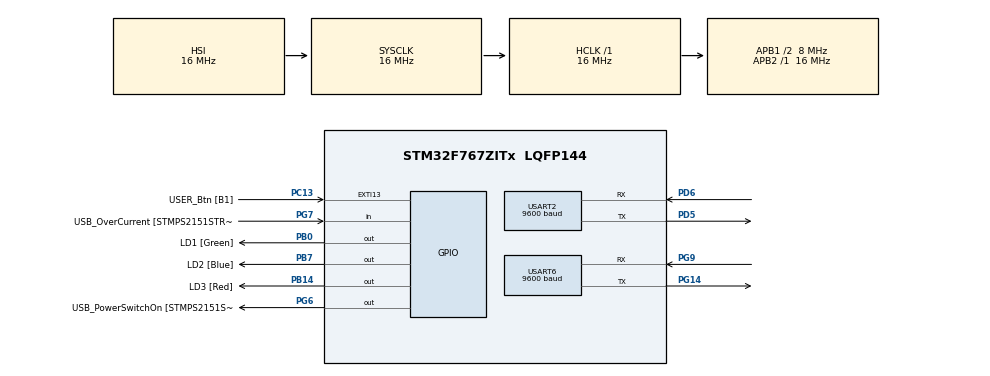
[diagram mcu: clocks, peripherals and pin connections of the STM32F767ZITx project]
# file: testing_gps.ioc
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Mcu.Family=STM32F7
Mcu.Name=STM32F767ZITx
Mcu.Package=LQFP144
NVIC.PriorityGroup=NVIC_PRIORITYGROUP_4
NVIC.USART2_IRQn=true\:0\:0\:false\:false\:true\:true\:true\:true
PA1.GPIO_Label=RMII_REF_CLK [LAN8742A-CZ-TR_REFCLK0]
PA1.Signal=ETH_REF_CLK
PA10.GPIO_Label=USB_ID
PA10.Signal=USB_OTG_FS_ID
PA11.GPIO_Label=USB_DM
PA11.Signal=USB_OTG_FS_DM
PA12.GPIO_Label=USB_DP
PA12.Signal=USB_OTG_FS_DP
PA13.GPIO_Label=TMS
PA13.Signal=SYS_JTMS-SWDIO
PA14.GPIO_Label=TCK
PA14.Signal=SYS_JTCK-SWCLK
PA2.GPIO_Label=RMII_MDIO [LAN8742A-CZ-TR_MDIO]
PA2.Signal=ETH_MDIO
PA7.GPIO_Label=RMII_CRS_DV [LAN8742A-CZ-TR_CRS_DV]
PA7.Signal=ETH_CRS_DV
PA8.GPIO_Label=USB_SOF [TP1]
PA8.Signal=USB_OTG_FS_SOF
PA9.GPIO_Label=USB_VBUS
PA9.Signal=USB_OTG_FS_VBUS
PB0.GPIO_Label=LD1 [Green]
PB0.Signal=GPIO_Output
PB13.GPIO_Label=RMII_TXD1 [LAN8742A-CZ-TR_TXD1]
PB13.Signal=ETH_TXD1
PB14.GPIO_Label=LD3 [Red]
PB14.Signal=GPIO_Output
PB3.GPIO_Label=SW0
PB3.Signal=SYS_JTDO-SWO
PB7.GPIO_Label=LD2 [Blue]
PB7.Signal=GPIO_Output
PC1.GPIO_Label=RMII_MDC [LAN8742A-CZ-TR_MDC]
PC1.Signal=ETH_MDC
PC13.GPIO_Label=USER_Btn [B1]
PC13.Signal=GPXTI13
PC14/OSC32_IN.Signal=RCC_OSC32_IN
PC15/OSC32_OUT.Signal=RCC_OSC32_OUT
PC4.GPIO_Label=RMII_RXD0 [LAN8742A-CZ-TR_RXD0]
PC4.Signal=ETH_RXD0
PC5.GPIO_Label=RMII_RXD1 [LAN8742A-CZ-TR_RXD1]
PC5.Signal=ETH_RXD1
PD5.Mode=Asynchronous
PD5.Signal=USART2_TX
PD6.Mode=Asynchronous
PD6.Signal=USART2_RX
PD8.GPIO_Label=STLK_RX [STM32F103CBT6_PA3]
PD8.Signal=USART3_TX
PD9.GPIO_Label=STLK_TX [STM32F103CBT6_PA2]
PD9.Signal=USART3_RX
PG11.GPIO_Label=RMII_TX_EN [LAN8742A-CZ-TR_TXEN]
PG11.Signal=ETH_TX_EN
PG13.GPIO_Label=RMII_TXD0 [LAN8742A-CZ-TR_TXD0]
PG13.Signal=ETH_TXD0
PG14.Mode=Asynchronous
PG14.Signal=USART6_TX
PG6.GPIO_Label=USB_PowerSwitchOn [STMPS2151STR_EN]
PG6.Signal=GPIO_Output
PG7.GPIO_Label=USB_OverCurrent [STMPS2151STR_FAULT]
PG7.Signal=GPIO_Input
PG9.Mode=Asynchronous
PG9.Signal=USART6_RX
PH0/OSC_IN.GPIO_Label=MCO [STM32F103CBT6_PA8]
PH0/OSC_IN.Signal=RCC_OSC_IN
PH1/OSC_OUT.Signal=RCC_OSC_OUT
ProjectManager.HeapSize=0x200
ProjectManager.StackSize=0x400
ProjectManager.TargetToolchain=STM32CubeIDE
RCC.48MHZClocksFreq_Value=24000000
RCC.AHBFreq_Value=16000000
RCC.APB1CLKDivider=RCC_HCLK_DIV2
RCC.APB1Freq_Value=8000000
RCC.APB1TimFreq_Value=16000000
RCC.APB2Freq_Value=16000000
RCC.APB2TimFreq_Value=16000000
RCC.CortexFreq_Value=16000000
RCC.HCLKFreq_Value=16000000
RCC.HSE_VALUE=16000000
RCC.HSI_VALUE=16000000
RCC.LSE_VALUE=32768
RCC.PLLMUL=RCC_PLL_MUL9
RCC.PRESCALERUSB=RCC_USBCLKSOURCE_PLL_DIV1_5
RCC.SYSCLKFreq_VALUE=16000000
RCC.SYSCLKSourceVirtual=RCC_SYSCLKSOURCE_PLLCLK
RCC.USBFreq_Value=96000000
RCC.VCOOutputFreq_Value=192000000
USART2.BaudRate=9600
USART2.VirtualMode-Asynchronous=VM_ASYNC
USART6.BaudRate=9600
USART6.VirtualMode-Asynchronous=VM_ASYNC
board=NUCLEO-F767ZI

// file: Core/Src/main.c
/* USER CODE BEGIN Header */
/**
  ******************************************************************************
  * @file           : main.c
  * @brief          : Main program body
  ******************************************************************************
  * @attention
  *
  * Copyright (c) 2023 STMicroelectronics.
  * All rights reserved.
  *
  * This software is licensed under terms that can be found in the LICENSE file
  * in the root directory of this software component.
  * If no LICENSE file comes with this software, it is provided AS-IS.
  *
  ******************************************************************************
  */
/* USER CODE END Header */
#include "main.h"

/* USER CODE BEGIN Includes */
#include <stdio.h>
#include <stdlib.h>

/* USER CODE END Includes */

UART_HandleTypeDef huart2;
UART_HandleTypeDef huart6;

/* USER CODE BEGIN PV */

//35.15
typedef struct __attribute__((__packed__)) {
    uint32_t iTOW;
    int32_t velN;
    int32_t velE;
    int32_t velD;
    uint32_t speed;
    uint32_t gSpeed;
    int32_t heading;
    uint32_t sAcc;
    uint32_t cAcc;
    uint8_t CK_A;
    uint8_t CK_B;
} GPS_VELOCITY_PACKET;

//35.13
typedef struct __attribute__((__packed__)) {
    uint32_t iTOW;
    uint32_t tAcc;
    int32_t nano;
    uint16_t year;
    uint8_t month;
    uint8_t day;
    uint8_t hour;
    uint8_t min;
    uint8_t sec;
    uint8_t valid;
    uint8_t CK_A;
    uint8_t CK_B;
} GPS_TIME_PACKET;

//35.7
typedef struct __attribute__((__packed__)) {
    uint32_t iTOW;
    int32_t lon;
    int32_t lat;
    int32_t height;
    int32_t hMSL;
    uint32_t hAcc;
    uint32_t vAcc;
    uint8_t CK_A;
    uint8_t CK_B;
} GEO_POS_SOL_PACKET;

//35.10
typedef struct __attribute__((__packed__)) {
    uint32_t iTOW;
    uint8_t gpsFix;
    //below three bit values
    uint8_t flags;
    uint8_t fixStat;
    uint8_t flags2;
    uint32_t ttff;
    uint32_t msss;
    uint8_t CK_A;
    uint8_t CK_B;
} NAV_STATUS_PACKET;

typedef enum{
	GOTBYTE,
	GOTSIZE,
	GOTPAYLOAD
} serial_read_state;

typedef struct __attribute__((__packed__)) {
	uint8_t cls;
	uint8_t id;
	uint16_t len;
} BEGIN_PACKET;

GPS_VELOCITY_PACKET gps_velocity_packet;
GPS_TIME_PACKET gps_time_packet;
GEO_POS_SOL_PACKET geo_pos_sol_packet;
NAV_STATUS_PACKET nav_status_packet;
BEGIN_PACKET begin_packet;

// Below two lines shouldn't? be included in the class
uint16_t gps_speed;
uint16_t gps_lock;

// This should be included
serial_read_state gps_state = GOTBYTE;
uint16_t gps_code = 0;
uint8_t gps_code_byte = 0;
uint16_t counter_thing = 0;

//Added by Jacob
uint16_t gps_time = 0;//Need one for 35.7 and 35.10
unsigned char gps_fix = 0;
int32_t gps_sea_level = 0;
uint32_t msss = 0;// For testing stat
// More debugging info
uint16_t selection_wrong_debug = 0;

// 0 = debugs match
// 1 = no match

typedef struct __attribute__((__packed__)) {
  // beginpacket.id doesn't match any that are givens
  unsigned int bit1:1;
  // UNUSED
  unsigned int bit2:1;
  // UNUSED
  unsigned int bit3:1;
  // UNUSED
  unsigned int bit4:1;
  // Status
  unsigned int bit5:1;
  // Position
  unsigned int bit6:1;
  // Time
  unsigned int bit7:1;
  // Velocity
  unsigned int bit8:1;
} PACKED_BITS;

PACKED_BITS chk_debug;

typedef struct __attribute__((__packed__)) {
    uint16_t p_vel;
    uint16_t p_time;
    uint16_t p_pos;
    uint16_t p_stat;
    uint16_t f_vel;
	uint16_t f_time;
	uint16_t f_pos;
	uint16_t f_stat;
} PACKET_DEBUG;

PACKET_DEBUG packet_debug;

#define ARRAY_SIZE 11

const uint8_t num_commands = ARRAY_SIZE;

/**
 * Notes from David regarding below
 *
 * First 6 of these commands seem to be 31.9 CFG-MSG
 * 		They seem to be turning off all the default messages
 * Remaning commands have inline comments
 *
 *
 * Notes about update frequency:
 * I find it weird that the higher the frequency, the more evenly the values update
 * I would have expected an inverse relationship
 * Starting at 10hz, I moved to 20hz, and then 40 hz
 * At 10 hz, I would rarely recieve time data
 * at 20hz I would inconsistantly get time data
 * at 40hz I consistantly get all the data I need
 *
 */
const uint8_t gps_config_commands[ARRAY_SIZE][16] = {
        { 0xB5, 0x62, 0x06, 0x01, 0x08, 0x00, 0xF0, 0x00, 0x00, 0x00, 0x00, 0x00, 0x00, 0x01, 0x00, 0x24 },
        { 0xB5, 0x62, 0x06, 0x01, 0x08, 0x00, 0xF0, 0x01, 0x00, 0x00, 0x00, 0x00, 0x00, 0x01, 0x01, 0x2B },
        { 0xB5, 0x62, 0x06, 0x01, 0x08, 0x00, 0xF0, 0x02, 0x00, 0x00, 0x00, 0x00, 0x00, 0x01, 0x02, 0x32 },
        { 0xB5, 0x62, 0x06, 0x01, 0x08, 0x00, 0xF0, 0x03, 0x00, 0x00, 0x00, 0x00, 0x00, 0x01, 0x03, 0x39 },
        { 0xB5, 0x62, 0x06, 0x01, 0x08, 0x00, 0xF0, 0x04, 0x00, 0x00, 0x00, 0x00, 0x00, 0x01, 0x04, 0x40 },
        { 0xB5, 0x62, 0x06, 0x01, 0x08, 0x00, 0x01, 0x06, 0x00, 0x00, 0x00, 0x00, 0x00, 0x00, 0x16, 0xD5 },
        { 0xB5, 0x62, 0x06, 0x01, 0x08, 0x00, 0x01, 0x12, 0x01, 0x01, 0x01, 0x01, 0x01, 0x00, 0x27, 0x3D }, //This enables velocity
        { 0xB5, 0x62, 0x06, 0x08, 0x06, 0x00, 0x16, 0x00, 0x01, 0x00, 0x01, 0x00, 0x7A, 0x12, 0x00, 0x00 }, // CFG-RATE measurement rate to 100ms NOW 50ms (0x32)
		{ 0xB5, 0x62, 0x06, 0x01, 0x08, 0x00, 0x01, 0x21, 0x01, 0x01, 0x01, 0x01, 0x01, 0x00, 0x36, 0xA6 }, //This enables time
		{ 0xB5, 0x62, 0x06, 0x01, 0x08, 0x00, 0x01, 0x02, 0x01, 0x01, 0x01, 0x01, 0x01, 0x00, 0x17, 0xCD }, //This enables lat/long
		{ 0xB5, 0x62, 0x06, 0x01, 0x08, 0x00, 0x01, 0x03, 0x01, 0x01, 0x01, 0x01, 0x01, 0x00, 0x18, 0xD4 }, //This enables sat stat
};

/* USER CODE END PV */

void SystemClock_Config(void);
static void MX_GPIO_Init(void);
static void MX_USART2_UART_Init(void);
static void MX_USART6_UART_Init(void);

int main(void)
{

  /* MCU Configuration--------------------------------------------------------*/

  /* Reset of all peripherals, Initializes the Flash interface and the Systick. */
  HAL_Init();

  /* Configure the system clock */
  SystemClock_Config();

  /* Initialize all configured peripherals */
  MX_GPIO_Init();
  MX_USART2_UART_Init();
  MX_USART6_UART_Init();
  /* USER CODE BEGIN 2 */
  // Receive GPS data
    HAL_UART_Receive_IT(&huart2, (uint8_t *) &gps_code_byte, 1);
    uint32_t gps_startup = 0;
  /* USER CODE END 2 */

  /* Infinite loop */
  /* USER CODE BEGIN WHILE */
  uint32_t loop_timer = 0;
  uint8_t test = 0;
  uint8_t betterfix = 0;
  while (1)
  {
	  if (!test){
		  printf("GOT HERE ONCE\r\n");
		  test++;
	  }
	  if (gps_startup < num_commands )
	        {
	            HAL_UART_Transmit(&huart2, gps_config_commands[gps_startup], 16, 1000);//500 was 1000
	            gps_startup++;
	        }
	  if (gps_startup == num_commands){
		  printf("COMPLETED SENDING AT TIME: %ld\r\n", HAL_GetTick());
		  gps_startup++;
	  }
	  // This might have been the problem. Giving the GPS 7 seconds to send the commands now
//	  if (HAL_GetTick() > 6000) {
	  if (gps_startup > num_commands) {
			while (HAL_GetTick() - loop_timer < 1000); //1000, was 500
//	        while (HAL_GetTick() - loop_timer < 500);
	        loop_timer = HAL_GetTick();

	        betterfix = nav_status_packet.flags & 1;
	        printf("Sel: %d debug: %d %d %d %d %d %d %d %d Vel, time, sea, fix: %d %d %d %d\r\n", selection_wrong_debug, packet_debug.p_vel,
	        		packet_debug.p_time, packet_debug.p_pos, packet_debug.p_stat, packet_debug.f_vel, packet_debug.f_time, packet_debug.f_pos,
					packet_debug.f_stat, gps_speed, gps_time, gps_sea_level, betterfix);
	  }else{
//		  while (HAL_GetTick() - loop_timer < 500);//was 500, then 300
		  loop_timer = HAL_GetTick();
	  }

    /* USER CODE END WHILE */

  }
}

void SystemClock_Config(void)
{
  RCC_OscInitTypeDef RCC_OscInitStruct = {0};
  RCC_ClkInitTypeDef RCC_ClkInitStruct = {0};

  /** Configure the main internal regulator output voltage
  */
  __HAL_RCC_PWR_CLK_ENABLE();
  __HAL_PWR_VOLTAGESCALING_CONFIG(PWR_REGULATOR_VOLTAGE_SCALE3);

  /** Initializes the RCC Oscillators according to the specified parameters
  * in the RCC_OscInitTypeDef structure.
  */
  RCC_OscInitStruct.OscillatorType = RCC_OSCILLATORTYPE_HSI;
  RCC_OscInitStruct.HSIState = RCC_HSI_ON;
  RCC_OscInitStruct.HSICalibrationValue = RCC_HSICALIBRATION_DEFAULT;
  RCC_OscInitStruct.PLL.PLLState = RCC_PLL_NONE;
  if (HAL_RCC_OscConfig(&RCC_OscInitStruct) != HAL_OK)
  {
    Error_Handler();
  }

  /** Initializes the CPU, AHB and APB buses clocks
  */
  RCC_ClkInitStruct.ClockType = RCC_CLOCKTYPE_HCLK|RCC_CLOCKTYPE_SYSCLK
                              |RCC_CLOCKTYPE_PCLK1|RCC_CLOCKTYPE_PCLK2;
  RCC_ClkInitStruct.SYSCLKSource = RCC_SYSCLKSOURCE_HSI;
  RCC_ClkInitStruct.AHBCLKDivider = RCC_SYSCLK_DIV1;
  RCC_ClkInitStruct.APB1CLKDivider = RCC_HCLK_DIV2;
  RCC_ClkInitStruct.APB2CLKDivider = RCC_HCLK_DIV1;

  if (HAL_RCC_ClockConfig(&RCC_ClkInitStruct, FLASH_LATENCY_0) != HAL_OK)
  {
    Error_Handler();
  }
}

static void MX_USART2_UART_Init(void)
{

  huart2.Instance = USART2;
  huart2.Init.BaudRate = 9600;
  huart2.Init.WordLength = UART_WORDLENGTH_8B;
  huart2.Init.StopBits = UART_STOPBITS_1;
  huart2.Init.Parity = UART_PARITY_NONE;
  huart2.Init.Mode = UART_MODE_TX_RX;
  huart2.Init.HwFlowCtl = UART_HWCONTROL_NONE;
  huart2.Init.OverSampling = UART_OVERSAMPLING_16;
  huart2.Init.OneBitSampling = UART_ONE_BIT_SAMPLE_DISABLE;
  huart2.AdvancedInit.AdvFeatureInit = UART_ADVFEATURE_NO_INIT;
  if (HAL_UART_Init(&huart2) != HAL_OK)
  {
    Error_Handler();
  }

}

static void MX_USART6_UART_Init(void)
{

  huart6.Instance = USART6;
  huart6.Init.BaudRate = 9600;
  huart6.Init.WordLength = UART_WORDLENGTH_8B;
  huart6.Init.StopBits = UART_STOPBITS_1;
  huart6.Init.Parity = UART_PARITY_NONE;
  huart6.Init.Mode = UART_MODE_TX_RX;
  huart6.Init.HwFlowCtl = UART_HWCONTROL_NONE;
  huart6.Init.OverSampling = UART_OVERSAMPLING_16;
  huart6.Init.OneBitSampling = UART_ONE_BIT_SAMPLE_DISABLE;
  huart6.AdvancedInit.AdvFeatureInit = UART_ADVFEATURE_NO_INIT;
  if (HAL_UART_Init(&huart6) != HAL_OK)
  {
    Error_Handler();
  }

}

static void MX_GPIO_Init(void)
{
  GPIO_InitTypeDef GPIO_InitStruct = {0};

  /* GPIO Ports Clock Enable */
  __HAL_RCC_GPIOC_CLK_ENABLE();
  __HAL_RCC_GPIOH_CLK_ENABLE();
  __HAL_RCC_GPIOA_CLK_ENABLE();
  __HAL_RCC_GPIOB_CLK_ENABLE();
  __HAL_RCC_GPIOD_CLK_ENABLE();
  __HAL_RCC_GPIOG_CLK_ENABLE();

  /*Configure GPIO pin Output Level */
  HAL_GPIO_WritePin(GPIOB, LD1_Pin|LD3_Pin|LD2_Pin, GPIO_PIN_RESET);

  /*Configure GPIO pin Output Level */
  HAL_GPIO_WritePin(USB_PowerSwitchOn_GPIO_Port, USB_PowerSwitchOn_Pin, GPIO_PIN_RESET);

  /*Configure GPIO pin : USER_Btn_Pin */
  GPIO_InitStruct.Pin = USER_Btn_Pin;
  GPIO_InitStruct.Mode = GPIO_MODE_IT_RISING;
  GPIO_InitStruct.Pull = GPIO_NOPULL;
  HAL_GPIO_Init(USER_Btn_GPIO_Port, &GPIO_InitStruct);

  /*Configure GPIO pins : RMII_MDC_Pin RMII_RXD0_Pin RMII_RXD1_Pin */
  GPIO_InitStruct.Pin = RMII_MDC_Pin|RMII_RXD0_Pin|RMII_RXD1_Pin;
  GPIO_InitStruct.Mode = GPIO_MODE_AF_PP;
  GPIO_InitStruct.Pull = GPIO_NOPULL;
  GPIO_InitStruct.Speed = GPIO_SPEED_FREQ_VERY_HIGH;
  GPIO_InitStruct.Alternate = GPIO_AF11_ETH;
  HAL_GPIO_Init(GPIOC, &GPIO_InitStruct);

  /*Configure GPIO pins : RMII_REF_CLK_Pin RMII_MDIO_Pin RMII_CRS_DV_Pin */
  GPIO_InitStruct.Pin = RMII_REF_CLK_Pin|RMII_MDIO_Pin|RMII_CRS_DV_Pin;
  GPIO_InitStruct.Mode = GPIO_MODE_AF_PP;
  GPIO_InitStruct.Pull = GPIO_NOPULL;
  GPIO_InitStruct.Speed = GPIO_SPEED_FREQ_VERY_HIGH;
  GPIO_InitStruct.Alternate = GPIO_AF11_ETH;
  HAL_GPIO_Init(GPIOA, &GPIO_InitStruct);

  /*Configure GPIO pins : LD1_Pin LD3_Pin LD2_Pin */
  GPIO_InitStruct.Pin = LD1_Pin|LD3_Pin|LD2_Pin;
  GPIO_InitStruct.Mode = GPIO_MODE_OUTPUT_PP;
  GPIO_InitStruct.Pull = GPIO_NOPULL;
  GPIO_InitStruct.Speed = GPIO_SPEED_FREQ_LOW;
  HAL_GPIO_Init(GPIOB, &GPIO_InitStruct);

  /*Configure GPIO pin : RMII_TXD1_Pin */
  GPIO_InitStruct.Pin = RMII_TXD1_Pin;
  GPIO_InitStruct.Mode = GPIO_MODE_AF_PP;
  GPIO_InitStruct.Pull = GPIO_NOPULL;
  GPIO_InitStruct.Speed = GPIO_SPEED_FREQ_VERY_HIGH;
  GPIO_InitStruct.Alternate = GPIO_AF11_ETH;
  HAL_GPIO_Init(RMII_TXD1_GPIO_Port, &GPIO_InitStruct);

  /*Configure GPIO pins : STLK_RX_Pin STLK_TX_Pin */
  GPIO_InitStruct.Pin = STLK_RX_Pin|STLK_TX_Pin;
  GPIO_InitStruct.Mode = GPIO_MODE_AF_PP;
  GPIO_InitStruct.Pull = GPIO_NOPULL;
  GPIO_InitStruct.Speed = GPIO_SPEED_FREQ_VERY_HIGH;
  GPIO_InitStruct.Alternate = GPIO_AF7_USART3;
  HAL_GPIO_Init(GPIOD, &GPIO_InitStruct);

  /*Configure GPIO pin : USB_PowerSwitchOn_Pin */
  GPIO_InitStruct.Pin = USB_PowerSwitchOn_Pin;
  GPIO_InitStruct.Mode = GPIO_MODE_OUTPUT_PP;
  GPIO_InitStruct.Pull = GPIO_NOPULL;
  GPIO_InitStruct.Speed = GPIO_SPEED_FREQ_LOW;
  HAL_GPIO_Init(USB_PowerSwitchOn_GPIO_Port, &GPIO_InitStruct);

  /*Configure GPIO pin : USB_OverCurrent_Pin */
  GPIO_InitStruct.Pin = USB_OverCurrent_Pin;
  GPIO_InitStruct.Mode = GPIO_MODE_INPUT;
  GPIO_InitStruct.Pull = GPIO_NOPULL;
  HAL_GPIO_Init(USB_OverCurrent_GPIO_Port, &GPIO_InitStruct);

  /*Configure GPIO pins : USB_SOF_Pin USB_ID_Pin USB_DM_Pin USB_DP_Pin */
  GPIO_InitStruct.Pin = USB_SOF_Pin|USB_ID_Pin|USB_DM_Pin|USB_DP_Pin;
  GPIO_InitStruct.Mode = GPIO_MODE_AF_PP;
  GPIO_InitStruct.Pull = GPIO_NOPULL;
  GPIO_InitStruct.Speed = GPIO_SPEED_FREQ_VERY_HIGH;
  GPIO_InitStruct.Alternate = GPIO_AF10_OTG_FS;
  HAL_GPIO_Init(GPIOA, &GPIO_InitStruct);

  /*Configure GPIO pin : USB_VBUS_Pin */
  GPIO_InitStruct.Pin = USB_VBUS_Pin;
  GPIO_InitStruct.Mode = GPIO_MODE_INPUT;
  GPIO_InitStruct.Pull = GPIO_NOPULL;
  HAL_GPIO_Init(USB_VBUS_GPIO_Port, &GPIO_InitStruct);

  /*Configure GPIO pins : RMII_TX_EN_Pin RMII_TXD0_Pin */
  GPIO_InitStruct.Pin = RMII_TX_EN_Pin|RMII_TXD0_Pin;
  GPIO_InitStruct.Mode = GPIO_MODE_AF_PP;
  GPIO_InitStruct.Pull = GPIO_NOPULL;
  GPIO_InitStruct.Speed = GPIO_SPEED_FREQ_VERY_HIGH;
  GPIO_InitStruct.Alternate = GPIO_AF11_ETH;
  HAL_GPIO_Init(GPIOG, &GPIO_InitStruct);

}

/* USER CODE BEGIN 4 */
void checksum(uint8_t selection) {
	uint8_t GPS_A = 0, GPS_B = 0;
//	struct GPS_VELOCITY_PACKET *payload_packet;
	struct GEO_POS_SOL_PACKET *payload_packet;// Both velocity and time result in just velocity passing checksums
	uint16_t *begin_struct = &begin_packet;
	unsigned char *ptr_chk_debug = &chk_debug;
	uint16_t *second_debug_ptr = &packet_debug;

	//
	unsigned char chk_bit = 1;
	for (int i = 0; i < 7 - selection; i++) {
		chk_bit *= 2;
	}
//	unsigned char chk_bit1, chk_bit2;

	switch (selection) {
	case 0:
		GPS_A = gps_velocity_packet.CK_A;
		GPS_B = gps_velocity_packet.CK_B;
		payload_packet = &gps_velocity_packet;
//		chk_bit1 = 0b00000010;
//		chk_bit1 = 0b00000001;
		break;
	case 1:
		GPS_A = gps_time_packet.CK_A;
		GPS_B = gps_time_packet.CK_B;
		payload_packet = &gps_time_packet;
//		printf("Got time though");
//		chk_bit1 = 0b00001000;
//		chk_bit1 = 0b00000100;
		break;
	case 2:
		GPS_A = geo_pos_sol_packet.CK_A;
		GPS_B = geo_pos_sol_packet.CK_B;
		payload_packet = &geo_pos_sol_packet;
//		chk_bit1 = 0b00000010;
//		chk_bit1 = 0b00000001;
		break;
	case 3:
		GPS_A = nav_status_packet.CK_A;
		GPS_B = nav_status_packet.CK_B;
		payload_packet = &nav_status_packet;
//		chk_bit1 = 0b00000010;
//		chk_bit1 = 0b00000001;
		break;
	default:
		chk_debug.bit1 = 1;
		selection_wrong_debug++;
		return;
	}
	chk_debug.bit1 = 0;
	uint8_t CK_A = 0, CK_B = 0;

	int i;
	for(i = 0; i < 4; i++) {
		CK_A += ((uint8_t*)begin_struct)[i];
		CK_B += CK_A;
	}
	for(i = 0; i < begin_packet.len; i++) {
		CK_A += ((uint8_t*)payload_packet)[i];
		CK_B += CK_A;
	}

	if (CK_A != GPS_A || CK_B != GPS_B) {
		*ptr_chk_debug |=chk_bit;
//		*(second_debug_ptr + (selection + 4) * 2) = *(second_debug_ptr + (selection + 4) * 2) + 1;
		*(second_debug_ptr + (selection + 4)) = *(second_debug_ptr + (selection + 4)) + 1;

	} else {
		*ptr_chk_debug =chk_bit & ~ *ptr_chk_debug;
//		*(second_debug_ptr + selection * 2) = *(second_debug_ptr + selection * 2) + 1;
		*(second_debug_ptr + selection) = *(second_debug_ptr + selection) + 1;

	}
//Packet debug for reference:
//	typedef struct __attribute__((__packed__)) {
//	    uint16_t p_vel;
//	    uint16_t p_time;
//	    uint16_t p_pos;
//	    uint16_t p_stat;
//	    uint16_t f_vel;
//		uint16_t f_time;
//		uint16_t f_pos;
//		uint16_t f_stat;
//	} PACKET_DEBUG;
//
//	PACKET_DEBUG packet_debug;
//	chk_debug.bit1 = CK_A != GPS_A;
//	chk_debug.bit2 = CK_B != GPS_B;

}

//Using the UBX Protocol
void HAL_UART_RxCpltCallback(UART_HandleTypeDef *huart) {
    if(gps_state == GOTBYTE) {
        gps_code = gps_code >> 8;
        gps_code |= (uint16_t)(gps_code_byte) << 8;

        if(gps_code == 0x62B5) {
        	//Receiving the first packets to determine payload id and size
            HAL_UART_Receive_IT(&huart2, (uint8_t *)&begin_packet, sizeof(begin_packet));
            gps_state = GOTSIZE;
        } else{
            HAL_UART_Receive_IT(&huart2, (uint8_t *)&gps_code_byte, 1);
            gps_state = GOTBYTE;
        }
    } else if (gps_state == GOTSIZE) {
    	//Receiving the payload using the size of the payload given by the begin_packet
    	gps_state = GOTPAYLOAD;
    	switch(begin_packet.id) {
		case 0x12 :
			HAL_UART_Receive_IT(&huart2, (uint8_t *)&gps_velocity_packet, begin_packet.len + 2);
			break;
		case 0x02 :
			HAL_UART_Receive_IT(&huart2, (uint8_t *)&geo_pos_sol_packet, begin_packet.len + 2);
			break;
		case 0x03 :
			HAL_UART_Receive_IT(&huart2, (uint8_t *)&nav_status_packet, begin_packet.len + 2);
			break;
		case 0x21 :
			HAL_UART_Receive_IT(&huart2, (uint8_t *)&gps_time_packet, begin_packet.len + 2);
			break;
		default :
			gps_state = GOTBYTE;
			HAL_UART_Receive_IT(&huart2, (uint8_t *) &gps_code_byte, 1);
		}
    }
    else{
    	//Checksum
//    	uint8_t GPS_A = 0, GPS_B = 0;

    	gps_lock = 1;
    	counter_thing++;
    	uint8_t selection = 0;
    	switch(begin_packet.id) {
		case 0x12 :
			gps_speed = gps_velocity_packet.gSpeed;
//			GPS_A = gps_velocity_packet.CK_A;
//			GPS_B = gps_velocity_packet.CK_B;
//
//			//Verify that the checksum matches
//			struct GPS_VELOCITY_PACKET *vel_struct = &gps_velocity_packet;
//			struct BEGIN_PACKET *begin_struct = &begin_packet;
//
//			uint8_t CK_A = 0, CK_B = 0;
//
//			int i;
//			for(i = 0; i < 4; i++) {
//				CK_A += ((uint8_t*)begin_struct)[i];
//				CK_B += CK_A;
//			}
//			for(i = 0; i < begin_packet.len; i++) {
//				CK_A += ((uint8_t*)vel_struct)[i];
//				CK_B += CK_A;
//			}
//
//
//			chk_debug.bit1 = CK_A != GPS_A;
//			chk_debug.bit2 = CK_B != GPS_B;
			break;
		case 0x02 :
			gps_sea_level = geo_pos_sol_packet.hMSL;
			selection = 2;
			break;
		case 0x03 :
			gps_fix = nav_status_packet.fixStat;
			msss = nav_status_packet.msss;
			selection = 3;
			break;
		case 0x21 :
			gps_time = gps_time_packet.year;
//			GPS_A = gps_velocity_packet.CK_A;
//			GPS_B = gps_velocity_packet.CK_B;
			selection = 1;
			break;
		default :
			gps_lock = 0;
			counter_thing--;
			selection = 4;
//			printf("begin_packet.id: %x\r\n", begin_packet.id);
		}
    	checksum(selection);

        HAL_UART_Receive_IT(&huart2, (uint8_t *)&gps_code_byte, 1);

//        printf("CK_A: %x\n", CK_A);
//        printf("CK_B: %x\n", CK_B);

        gps_state = GOTBYTE;
    }
}

#ifdef __GNUC__
#define PUTCHAR_PROTOTYPE int __io_putchar(int ch)
#else
  #define PUTCHAR_PROTOTYPE int fputc(int ch, FILE *f)
#endif /* __GNUC__ */
PUTCHAR_PROTOTYPE
{
  HAL_UART_Transmit(&huart6, (uint8_t *)&ch, 1, 0xFFFF);
  return ch;
}
/* USER CODE END 4 */

void Error_Handler(void)
{
  __disable_irq();
  while (1)
  {
  }
}
